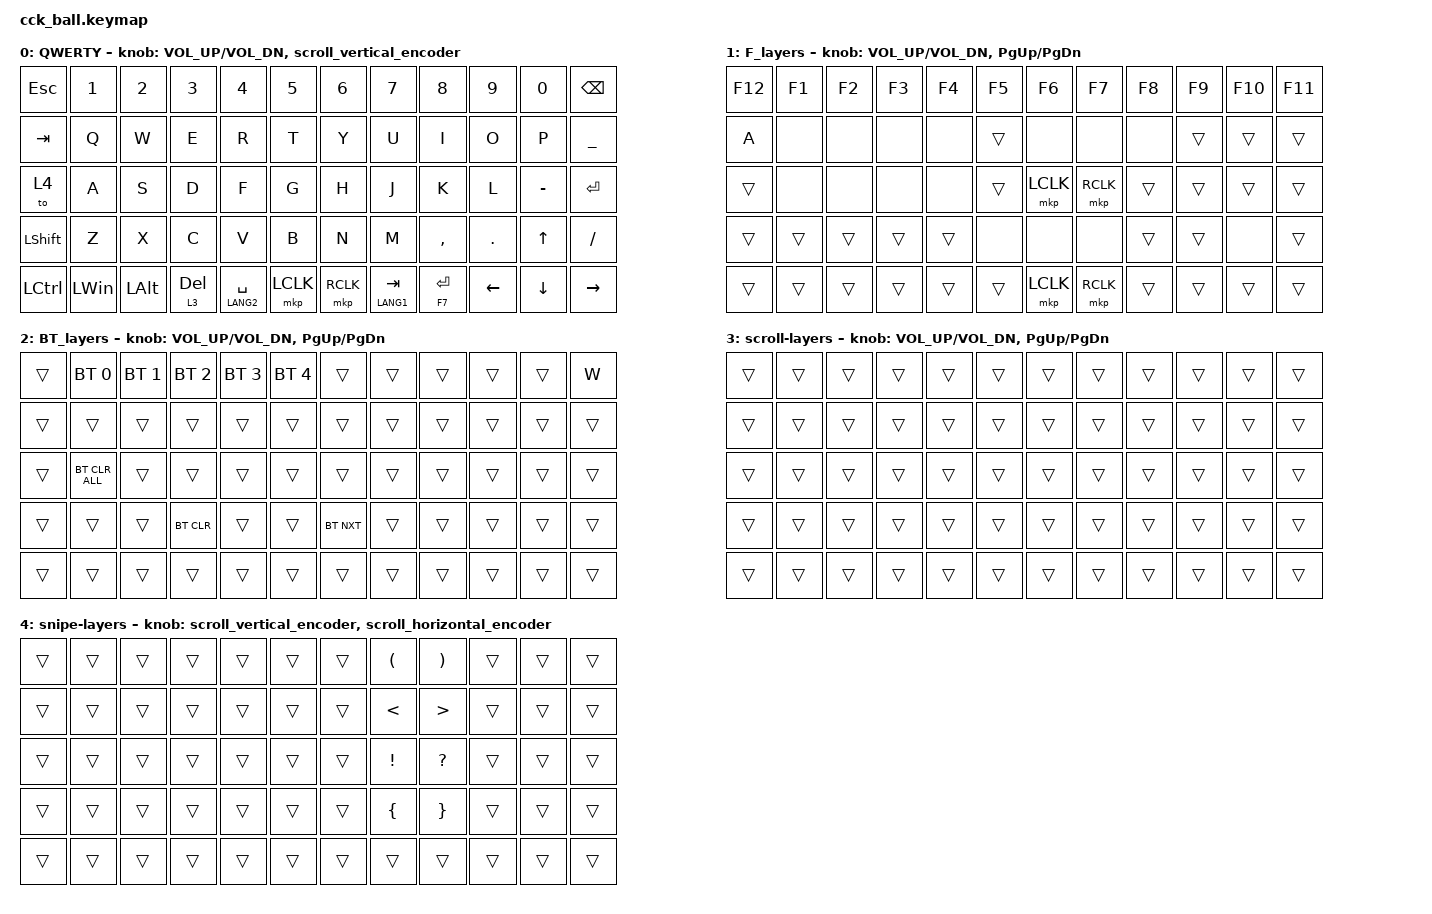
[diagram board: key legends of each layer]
#define ZMK_POINTING_DEFAULT_MOVE_VAL 6000 // 600
#define ZMK_POINTING_DEFAULT_SCRL_VAL 5   // 10

#include <input/processors.dtsi>
#include <zephyr/dt-bindings/input/input-event-codes.h>
#include <behaviors.dtsi>
#include <dt-bindings/zmk/bt.h>
#include <dt-bindings/zmk/keys.h>
#include <dt-bindings/zmk/pointing.h>

&mmv_input_listener { input-processors = <&zip_xy_scaler 2 1>; };

&msc_input_listener { input-processors = <&zip_scroll_scaler 2 1>; };

&msc {
    acceleration-exponent = <0>;       // 0
    time-to-max-speed-ms = <300>;      // 300
    delay-ms = <0>;                    // 0
};

&mmv {
    time-to-max-speed-ms = <200>;
    acceleration-exponent = <1>;
    trigger-period-ms = <8>;
};

&soft_off { hold-time-ms = <2000>; };

/ {
    // 上下滚动编码器行为

    scroll_vertical_encoder: scroll_vertical_encoder {
        compatible = "zmk,behavior-sensor-rotate";
        #sensor-binding-cells = <0>;
        bindings = <&msc SCRL_DOWN>, <&msc SCRL_UP>;

        tap-ms = <100>;
    };

    // 左右滚动编码器行为

    scroll_horizontal_encoder: scroll_horizontal_encoder {
        compatible = "zmk,behavior-sensor-rotate";
        #sensor-binding-cells = <0>;
        bindings = <&msc SCRL_LEFT>, <&msc SCRL_RIGHT>;

        tap-ms = <100>;
    };

    behaviors {
    };

    keymap {
        compatible = "zmk,keymap";

        QWERTY {
            bindings = <
&kp ESC           &kp N1        &kp N2        &kp N3        &kp N4           &kp N5     &kp N6     &kp N7         &kp N8      &kp N9          &kp N0          &kp BACKSPACE
&kp TAB           &kp Q         &kp W         &kp E         &kp R            &kp T      &kp Y      &kp U          &kp I       &kp O           &kp P           &kp UNDER
&to 4             &kp A         &kp S         &kp D         &kp F            &kp G      &kp H      &kp J          &kp K       &kp L           &kp MINUS       &kp ENTER
&kp LEFT_SHIFT    &kp Z         &kp X         &kp C         &kp V            &kp B      &kp N      &kp M          &kp COMMA   &kp DOT         &kp UP_ARROW    &kp FSLH
&kp LEFT_CONTROL  &kp LEFT_WIN  &kp LEFT_ALT  &lt 3 DELETE  &mt LANG2 SPACE  &mkp LCLK  &mkp RCLK  &mt LANG1 TAB  &mt F7 RET  &kp LEFT_ARROW  &kp DOWN_ARROW  &kp RIGHT_ARROW
            >;

            sensor-bindings =
                <&inc_dec_kp C_VOL_UP C_VOL_DN>,
                <&scroll_vertical_encoder>;
        };

        F_layers {
            bindings = <
&kp F12  &kp F1  &kp F2  &kp F3  &kp F4  &kp F5  &kp F6     &kp F7     &kp F8  &kp F9  &kp F10  &kp F11
&kp A    &none   &none   &none   &none   &trans  &none      &none      &none   &trans  &trans   &trans
&trans   &none   &none   &none   &none   &trans  &mkp LCLK  &mkp RCLK  &trans  &trans  &trans   &trans
&trans   &trans  &trans  &trans  &trans  &none   &none      &none      &trans  &trans  &none    &trans
&trans   &trans  &trans  &trans  &trans  &trans  &mkp LCLK  &mkp RCLK  &trans  &trans  &trans   &trans
            >;

            sensor-bindings = <&inc_dec_kp C_VOL_UP C_VOL_DN &inc_dec_kp PG_UP PG_DN>;
        };

        BT_layers {
            bindings = <
&trans  &bt BT_SEL 0    &bt BT_SEL 1  &bt BT_SEL 2  &bt BT_SEL 3  &bt BT_SEL 4  &trans      &trans  &trans  &trans  &trans  &kp W
&trans  &trans          &trans        &trans        &trans        &trans        &trans      &trans  &trans  &trans  &trans  &trans
&trans  &bt BT_CLR_ALL  &trans        &trans        &trans        &trans        &trans      &trans  &trans  &trans  &trans  &trans
&trans  &trans          &trans        &bt BT_CLR    &trans        &trans        &bt BT_NXT  &trans  &trans  &trans  &trans  &trans
&trans  &trans          &trans        &trans        &trans        &trans        &trans      &trans  &trans  &trans  &trans  &trans
            >;

            sensor-bindings = <&inc_dec_kp C_VOL_UP C_VOL_DN &inc_dec_kp PG_UP PG_DN>;
        };

        scroll-layers {
            bindings = <
&trans  &trans  &trans  &trans  &trans  &trans  &trans  &trans  &trans  &trans  &trans  &trans
&trans  &trans  &trans  &trans  &trans  &trans  &trans  &trans  &trans  &trans  &trans  &trans
&trans  &trans  &trans  &trans  &trans  &trans  &trans  &trans  &trans  &trans  &trans  &trans
&trans  &trans  &trans  &trans  &trans  &trans  &trans  &trans  &trans  &trans  &trans  &trans
&trans  &trans  &trans  &trans  &trans  &trans  &trans  &trans  &trans  &trans  &trans  &trans
            >;

            sensor-bindings = <&inc_dec_kp C_VOL_UP C_VOL_DN &inc_dec_kp PG_UP PG_DN>;
        };

        snipe-layers {
            bindings = <
&trans  &trans  &trans  &trans  &trans  &trans  &trans  &kp LEFT_PARENTHESIS  &kp RIGHT_PARENTHESIS  &trans  &trans  &trans
&trans  &trans  &trans  &trans  &trans  &trans  &trans  &kp LESS_THAN         &kp GREATER_THAN       &trans  &trans  &trans
&trans  &trans  &trans  &trans  &trans  &trans  &trans  &kp EXCLAMATION       &kp QUESTION           &trans  &trans  &trans
&trans  &trans  &trans  &trans  &trans  &trans  &trans  &kp LEFT_BRACE        &kp RIGHT_BRACE        &trans  &trans  &trans
&trans  &trans  &trans  &trans  &trans  &trans  &trans  &trans                &trans                 &trans  &trans  &trans
            >;

            sensor-bindings =
                <&scroll_vertical_encoder>,
                // 编码器1：上下滚动,,,,,,
                <&scroll_horizontal_encoder>;

            // 编码器2：左右滚动
        };
    };
};
